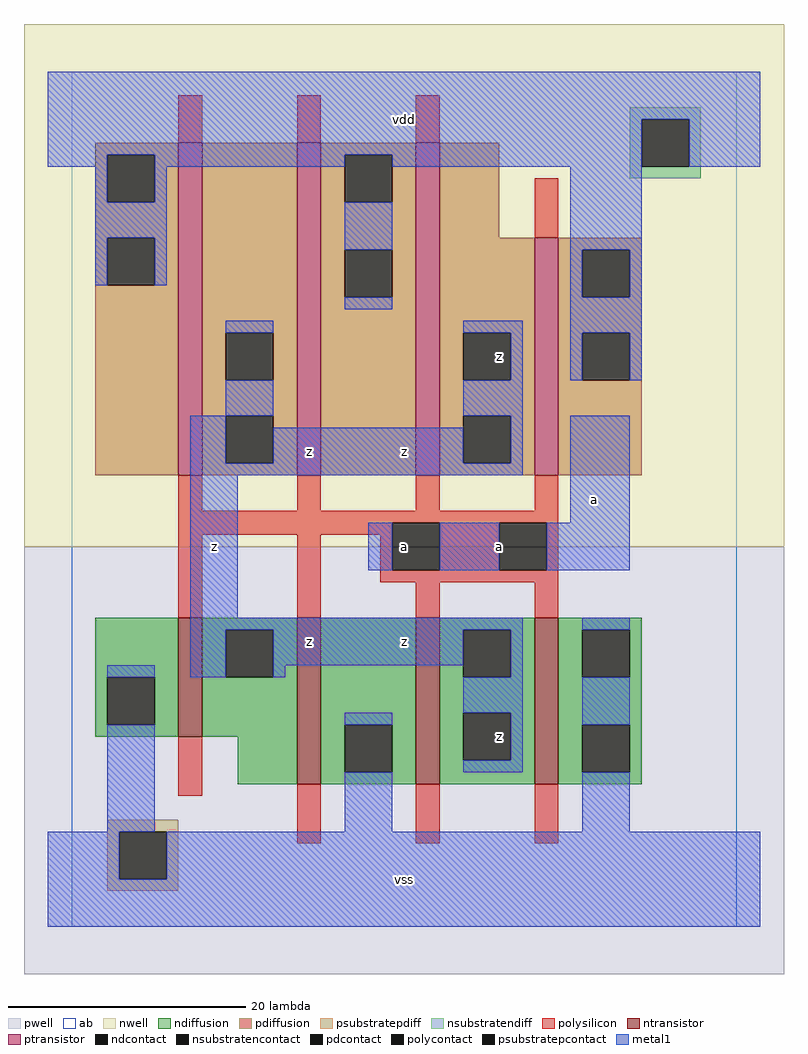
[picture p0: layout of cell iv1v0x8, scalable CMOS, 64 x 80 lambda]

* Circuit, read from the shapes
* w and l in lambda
.subckt iv1v0x8 a vdd vss z
M1 z a vss vss nfet w=10 l=2
M2 vss a z vss nfet w=14 l=2 m=3
M3 z a vdd vdd pfet w=28 l=2 m=3
M4 vdd a z vdd pfet w=20 l=2
.ends

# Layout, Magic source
magic
tech scmos
<< ab >>
rect 0 0 56 72
<< pwell >>
rect -4 -4 60 32
<< nwell >>
rect -4 32 60 76
<< polysilicon >>
rect 9 66 11 70
rect 19 66 21 70
rect 29 66 31 70
rect 39 58 41 63
rect 9 35 11 38
rect 19 35 21 38
rect 29 35 31 38
rect 39 35 41 38
rect 9 34 41 35
rect 9 33 27 34
rect 9 26 11 33
rect 19 26 21 33
rect 26 30 27 33
rect 31 30 36 34
rect 40 30 41 34
rect 26 29 41 30
rect 29 26 31 29
rect 39 26 41 29
rect 9 11 11 16
rect 19 7 21 12
rect 29 7 31 12
rect 39 7 41 12
<< ndiffusion >>
rect 2 21 9 26
rect 2 17 3 21
rect 7 17 9 21
rect 2 16 9 17
rect 11 25 19 26
rect 11 21 13 25
rect 17 21 19 25
rect 11 16 19 21
rect 14 12 19 16
rect 21 17 29 26
rect 21 13 23 17
rect 27 13 29 17
rect 21 12 29 13
rect 31 25 39 26
rect 31 21 33 25
rect 37 21 39 25
rect 31 18 39 21
rect 31 14 33 18
rect 37 14 39 18
rect 31 12 39 14
rect 41 25 48 26
rect 41 21 43 25
rect 47 21 48 25
rect 41 17 48 21
rect 41 13 43 17
rect 47 13 48 17
rect 41 12 48 13
<< pdiffusion >>
rect 2 65 9 66
rect 2 61 3 65
rect 7 61 9 65
rect 2 58 9 61
rect 2 54 3 58
rect 7 54 9 58
rect 2 38 9 54
rect 11 50 19 66
rect 11 46 13 50
rect 17 46 19 50
rect 11 43 19 46
rect 11 39 13 43
rect 17 39 19 43
rect 11 38 19 39
rect 21 65 29 66
rect 21 61 23 65
rect 27 61 29 65
rect 21 57 29 61
rect 21 53 23 57
rect 27 53 29 57
rect 21 38 29 53
rect 31 58 36 66
rect 31 50 39 58
rect 31 46 33 50
rect 37 46 39 50
rect 31 43 39 46
rect 31 39 33 43
rect 37 39 39 43
rect 31 38 39 39
rect 41 57 48 58
rect 41 53 43 57
rect 47 53 48 57
rect 41 50 48 53
rect 41 46 43 50
rect 47 46 48 50
rect 41 38 48 46
<< metal1 >>
rect -2 68 58 72
rect -2 65 48 68
rect -2 64 3 65
rect 2 61 3 64
rect 7 64 23 65
rect 7 61 8 64
rect 2 58 8 61
rect 2 54 3 58
rect 7 54 8 58
rect 27 64 48 65
rect 52 64 58 68
rect 23 57 27 61
rect 23 52 27 53
rect 42 57 48 64
rect 42 53 43 57
rect 47 53 48 57
rect 13 50 17 51
rect 13 43 17 46
rect 10 39 13 43
rect 33 50 38 51
rect 37 46 38 50
rect 42 50 48 53
rect 42 46 43 50
rect 47 46 48 50
rect 33 43 38 46
rect 17 39 33 42
rect 37 39 38 43
rect 10 38 38 39
rect 10 26 14 38
rect 42 34 47 43
rect 25 30 27 34
rect 31 30 36 34
rect 40 30 47 34
rect 10 25 38 26
rect 3 21 7 22
rect 10 21 13 25
rect 17 22 33 25
rect 17 21 18 22
rect 37 21 38 25
rect 33 18 38 21
rect 3 8 7 17
rect 23 17 27 18
rect 37 14 38 18
rect 33 13 38 14
rect 43 25 47 26
rect 43 17 47 21
rect 23 8 27 13
rect 43 8 47 13
rect -2 4 4 8
rect 8 4 58 8
rect -2 0 58 4
<< ntransistor >>
rect 9 16 11 26
rect 19 12 21 26
rect 29 12 31 26
rect 39 12 41 26
<< ptransistor >>
rect 9 38 11 66
rect 19 38 21 66
rect 29 38 31 66
rect 39 38 41 58
<< polycontact >>
rect 27 30 31 34
rect 36 30 40 34
<< ndcontact >>
rect 3 17 7 21
rect 13 21 17 25
rect 23 13 27 17
rect 33 21 37 25
rect 33 14 37 18
rect 43 21 47 25
rect 43 13 47 17
<< pdcontact >>
rect 3 61 7 65
rect 3 54 7 58
rect 13 46 17 50
rect 13 39 17 43
rect 23 61 27 65
rect 23 53 27 57
rect 33 46 37 50
rect 33 39 37 43
rect 43 53 47 57
rect 43 46 47 50
<< psubstratepcontact >>
rect 4 4 8 8
<< nsubstratencontact >>
rect 48 64 52 68
<< psubstratepdiff >>
rect 3 8 9 9
rect 3 4 4 8
rect 8 4 9 8
rect 3 3 9 4
<< nsubstratendiff >>
rect 47 68 53 69
rect 47 64 48 68
rect 52 64 53 68
rect 47 63 53 64
<< labels >>
rlabel metal1 12 32 12 32 6 z
rlabel metal1 20 24 20 24 6 z
rlabel metal1 20 40 20 40 6 z
rlabel metal1 28 4 28 4 6 vss
rlabel ndcontact 36 16 36 16 6 z
rlabel metal1 28 24 28 24 6 z
rlabel polycontact 28 32 28 32 6 a
rlabel metal1 36 32 36 32 6 a
rlabel metal1 28 40 28 40 6 z
rlabel pdcontact 36 48 36 48 6 z
rlabel metal1 28 68 28 68 6 vdd
rlabel metal1 44 36 44 36 6 a
<< end >>
